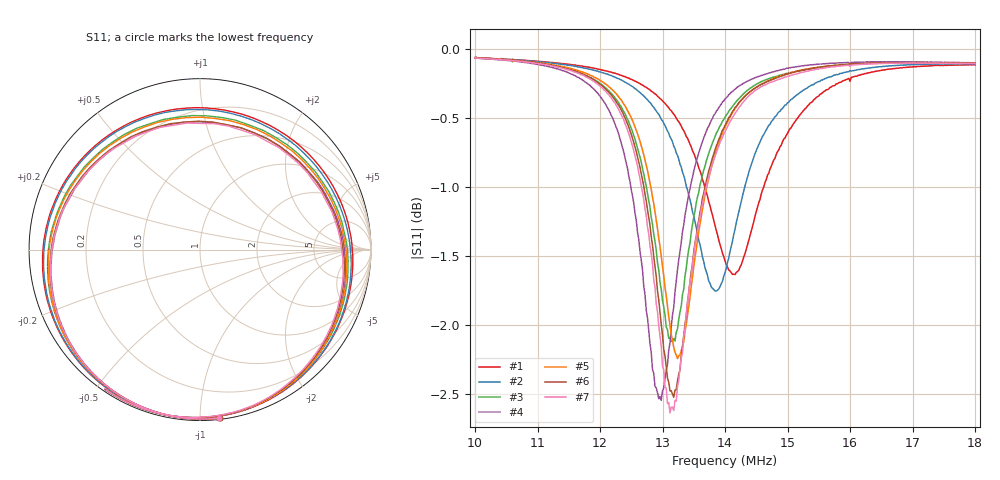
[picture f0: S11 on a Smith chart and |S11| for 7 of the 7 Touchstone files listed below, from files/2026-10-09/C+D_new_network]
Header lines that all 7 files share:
! NanoVNA Web complex sweep
! Processing: original sample grid, no browser smoothing
# Hz S RI R 50
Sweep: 10 MHz to 18 MHz
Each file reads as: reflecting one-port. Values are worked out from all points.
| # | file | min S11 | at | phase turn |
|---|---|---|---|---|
| 1 | 100ser_230sh_nanovna-sweep-1791575013745.s1p | -1.6 dB | 14.16 MHz | -387 deg |
| 2 | 100ser_250sh_nanovna-sweep-1791575393655.s1p | -1.8 dB | 13.84 MHz | -392 deg |
| 3 | 100ser_300sh_no-probe_nanovna-sweep-1791574790812.s1p | -2.1 dB | 13.16 MHz | -400 deg |
| 4 | 100ser_300sh_noAIT_nanovna-sweep-1791573368329.s1p | -2.5 dB | 12.98 MHz | -400 deg |
| 5 | 100ser_300sh_noAIT_rep2_nanovna-sweep-1791573857336.s1p | -2.2 dB | 13.24 MHz | -401 deg |
| 6 | 100ser_300sh_rep3_taperoll_nanovna-sweep-1791573995694.s1p | -2.5 dB | 13.18 MHz | -401 deg |
| 7 | 100ser_300sh_rep4_primary-away-from-secondary_nanovna-sweep-1791574642432.s1p | -2.6 dB | 13.12 MHz | -400 deg |
